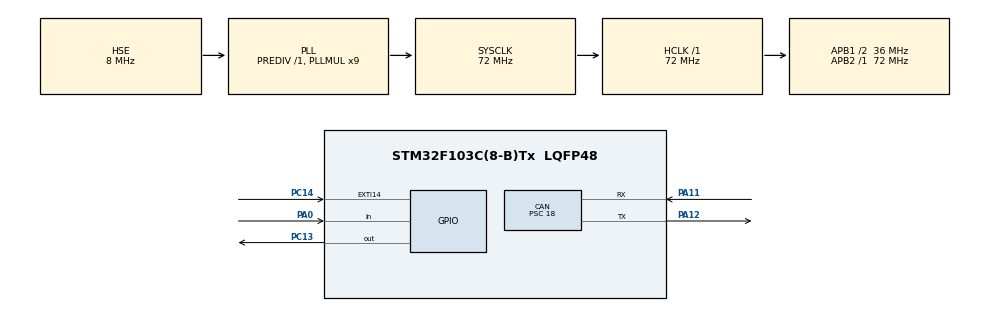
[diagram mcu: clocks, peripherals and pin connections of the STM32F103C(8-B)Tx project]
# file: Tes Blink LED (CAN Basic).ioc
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CAN.BS1=CAN_BS1_2TQ
CAN.CalculateBaudRate=500000
CAN.CalculateTimeBit=2000
CAN.CalculateTimeQuantum=500.0
CAN.Prescaler=18
Mcu.Family=STM32F1
Mcu.Name=STM32F103C(8-B)Tx
Mcu.Package=LQFP48
NVIC.CAN1_RX1_IRQn=true\:0\:0\:false\:false\:true\:true\:true\:true
NVIC.CAN1_SCE_IRQn=true\:0\:0\:false\:false\:true\:true\:true\:true
NVIC.EXTI15_10_IRQn=true\:0\:0\:false\:false\:true\:true\:true\:true
NVIC.PriorityGroup=NVIC_PRIORITYGROUP_4
PA0-WKUP.Signal=GPIO_Input
PA11.Mode=CAN_Activate
PA11.Signal=CAN_RX
PA12.Mode=CAN_Activate
PA12.Signal=CAN_TX
PA13.Mode=Serial_Wire
PA13.Signal=SYS_JTMS-SWDIO
PA14.Mode=Serial_Wire
PA14.Signal=SYS_JTCK-SWCLK
PC13-TAMPER-RTC.Signal=GPIO_Output
PC14-OSC32_IN.Signal=GPXTI14
PD0-OSC_IN.Mode=HSE-External-Oscillator
PD0-OSC_IN.Signal=RCC_OSC_IN
PD1-OSC_OUT.Mode=HSE-External-Oscillator
PD1-OSC_OUT.Signal=RCC_OSC_OUT
ProjectManager.HeapSize=0x200
ProjectManager.StackSize=0x400
ProjectManager.TargetToolchain=MDK-ARM V5
RCC.AHBFreq_Value=72000000
RCC.APB1CLKDivider=RCC_HCLK_DIV2
RCC.APB1Freq_Value=36000000
RCC.APB1TimFreq_Value=72000000
RCC.APB2Freq_Value=72000000
RCC.APB2TimFreq_Value=72000000
RCC.HCLKFreq_Value=72000000
RCC.PLLMUL=RCC_PLL_MUL9
RCC.PLLSourceVirtual=RCC_PLLSOURCE_HSE
RCC.SYSCLKFreq_VALUE=72000000
RCC.SYSCLKSource=RCC_SYSCLKSOURCE_PLLCLK
RCC.USBFreq_Value=72000000
board=custom

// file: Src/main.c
/* USER CODE BEGIN Header */
/**
  ******************************************************************************
  * @file           : main.c
  * @brief          : Main program body
  ******************************************************************************
  * @attention
  *
  * Copyright (c) 2022 STMicroelectronics.
  * All rights reserved.
  *
  * This software is licensed under terms that can be found in the LICENSE file
  * in the root directory of this software component.
  * If no LICENSE file comes with this software, it is provided AS-IS.
  *
  ******************************************************************************
  */
/* USER CODE END Header */
#include "main.h"

 CAN_HandleTypeDef hcan;

void SystemClock_Config(void);
static void MX_GPIO_Init(void);
static void MX_CAN_Init(void);

/* USER CODE BEGIN 0 */
CAN_TxHeaderTypeDef TxHeader;
CAN_RxHeaderTypeDef RxHeader;

uint8_t TxData[8];
uint8_t RxData[8];

uint32_t TxMailbox;

int datacheck = 0;

void HAL_GPIO_EXTI_Callback(uint16_t GPIO_Pin)
{
	if (GPIO_Pin == GPIO_PIN_14)
	{
		TxData[0] = 100;   // ms Delay
		TxData[1] = 40;    // loop rep

		HAL_CAN_AddTxMessage(&hcan, &TxHeader, TxData, &TxMailbox);
	}
}

void HAL_CAN_RxFifo0MsgPendingCallback(CAN_HandleTypeDef *hcan)
{
	HAL_CAN_GetRxMessage(hcan, CAN_RX_FIFO0, &RxHeader, RxData);
	if (RxHeader.DLC == 2)
	{
		datacheck = 1;
	}
}

/* USER CODE END 0 */

int main(void)
{

  /* MCU Configuration--------------------------------------------------------*/

  /* Reset of all peripherals, Initializes the Flash interface and the Systick. */
  HAL_Init();

  /* Configure the system clock */
  SystemClock_Config();

  /* Initialize all configured peripherals */
  MX_GPIO_Init();
  MX_CAN_Init();
  /* USER CODE BEGIN 2 */
	  HAL_CAN_Start(&hcan);

  // Activate the notification
  HAL_CAN_ActivateNotification(&hcan, CAN_IT_RX_FIFO0_MSG_PENDING);

  TxHeader.DLC = 2;  // data length
  TxHeader.IDE = CAN_ID_EXT;
  TxHeader.RTR = CAN_RTR_DATA;
  TxHeader.ExtId = 0x131;  // ID
  TxData[0] = 200;  // ms delay
  TxData[1] = 20;  // loop rep
  /* USER CODE END 2 */

  /* Infinite loop */
  while (1)
  {

    /* USER CODE BEGIN 3 */

	  if (datacheck)
	  {
		  // blink the LED
		  for (int i=0; i<RxData[1]; i++)
		  {
			  HAL_GPIO_TogglePin(GPIOC, GPIO_PIN_13);
			  HAL_Delay(RxData[0]);
		  }

		  datacheck = 0;

			TxData[0] = 100;   // ms Delay
			TxData[1] = 40;    // loop rep

			HAL_CAN_AddTxMessage(&hcan, &TxHeader, TxData, &TxMailbox);
	  }

  }
  /* USER CODE END 3 */
}

void SystemClock_Config(void)
{
  RCC_OscInitTypeDef RCC_OscInitStruct = {0};
  RCC_ClkInitTypeDef RCC_ClkInitStruct = {0};

  /** Initializes the RCC Oscillators according to the specified parameters
  * in the RCC_OscInitTypeDef structure.
  */
  RCC_OscInitStruct.OscillatorType = RCC_OSCILLATORTYPE_HSE;
  RCC_OscInitStruct.HSEState = RCC_HSE_ON;
  RCC_OscInitStruct.HSEPredivValue = RCC_HSE_PREDIV_DIV1;
  RCC_OscInitStruct.HSIState = RCC_HSI_ON;
  RCC_OscInitStruct.PLL.PLLState = RCC_PLL_ON;
  RCC_OscInitStruct.PLL.PLLSource = RCC_PLLSOURCE_HSE;
  RCC_OscInitStruct.PLL.PLLMUL = RCC_PLL_MUL9;
  if (HAL_RCC_OscConfig(&RCC_OscInitStruct) != HAL_OK)
  {
    Error_Handler();
  }

  /** Initializes the CPU, AHB and APB buses clocks
  */
  RCC_ClkInitStruct.ClockType = RCC_CLOCKTYPE_HCLK|RCC_CLOCKTYPE_SYSCLK
                              |RCC_CLOCKTYPE_PCLK1|RCC_CLOCKTYPE_PCLK2;
  RCC_ClkInitStruct.SYSCLKSource = RCC_SYSCLKSOURCE_PLLCLK;
  RCC_ClkInitStruct.AHBCLKDivider = RCC_SYSCLK_DIV1;
  RCC_ClkInitStruct.APB1CLKDivider = RCC_HCLK_DIV2;
  RCC_ClkInitStruct.APB2CLKDivider = RCC_HCLK_DIV1;

  if (HAL_RCC_ClockConfig(&RCC_ClkInitStruct, FLASH_LATENCY_2) != HAL_OK)
  {
    Error_Handler();
  }
}

static void MX_CAN_Init(void)
{

  hcan.Instance = CAN1;
  hcan.Init.Prescaler = 18;
  hcan.Init.Mode = CAN_MODE_NORMAL;
  hcan.Init.SyncJumpWidth = CAN_SJW_1TQ;
  hcan.Init.TimeSeg1 = CAN_BS1_2TQ;
  hcan.Init.TimeSeg2 = CAN_BS2_1TQ;
  hcan.Init.TimeTriggeredMode = DISABLE;
  hcan.Init.AutoBusOff = DISABLE;
  hcan.Init.AutoWakeUp = DISABLE;
  hcan.Init.AutoRetransmission = DISABLE;
  hcan.Init.ReceiveFifoLocked = DISABLE;
  hcan.Init.TransmitFifoPriority = DISABLE;
  if (HAL_CAN_Init(&hcan) != HAL_OK)
  {
    Error_Handler();
  }
  /* USER CODE BEGIN CAN_Init 2 */
 CAN_FilterTypeDef canfilterconfig;

  canfilterconfig.FilterActivation = CAN_FILTER_ENABLE;
  canfilterconfig.FilterBank = 18;  // which filter bank to use from the assigned ones
  canfilterconfig.FilterFIFOAssignment = CAN_FILTER_FIFO0;
  canfilterconfig.FilterIdHigh = 0x13<<5;
  canfilterconfig.FilterIdLow = 0;
  canfilterconfig.FilterMaskIdHigh = 0x13<<5;
  canfilterconfig.FilterMaskIdLow = 0;
  canfilterconfig.FilterMode = CAN_FILTERMODE_IDMASK;
  canfilterconfig.FilterScale = CAN_FILTERSCALE_32BIT;
  canfilterconfig.SlaveStartFilterBank = 20;  // how many filters to assign to the CAN1 (master can)

  HAL_CAN_ConfigFilter(&hcan, &canfilterconfig);
  /* USER CODE END CAN_Init 2 */

}

static void MX_GPIO_Init(void)
{
  GPIO_InitTypeDef GPIO_InitStruct = {0};

  /* GPIO Ports Clock Enable */
  __HAL_RCC_GPIOC_CLK_ENABLE();
  __HAL_RCC_GPIOD_CLK_ENABLE();
  __HAL_RCC_GPIOA_CLK_ENABLE();

  /*Configure GPIO pin Output Level */
  HAL_GPIO_WritePin(GPIOC, GPIO_PIN_13, GPIO_PIN_RESET);

  /*Configure GPIO pin : PC13 */
  GPIO_InitStruct.Pin = GPIO_PIN_13;
  GPIO_InitStruct.Mode = GPIO_MODE_OUTPUT_PP;
  GPIO_InitStruct.Pull = GPIO_NOPULL;
  GPIO_InitStruct.Speed = GPIO_SPEED_FREQ_LOW;
  HAL_GPIO_Init(GPIOC, &GPIO_InitStruct);

  /*Configure GPIO pin : PC14 */
  GPIO_InitStruct.Pin = GPIO_PIN_14;
  GPIO_InitStruct.Mode = GPIO_MODE_IT_RISING;
  GPIO_InitStruct.Pull = GPIO_NOPULL;
  HAL_GPIO_Init(GPIOC, &GPIO_InitStruct);

  /*Configure GPIO pin : PA0 */
  GPIO_InitStruct.Pin = GPIO_PIN_0;
  GPIO_InitStruct.Mode = GPIO_MODE_INPUT;
  GPIO_InitStruct.Pull = GPIO_NOPULL;
  HAL_GPIO_Init(GPIOA, &GPIO_InitStruct);

  /* EXTI interrupt init*/
  HAL_NVIC_SetPriority(EXTI15_10_IRQn, 0, 0);
  HAL_NVIC_EnableIRQ(EXTI15_10_IRQn);

}

void Error_Handler(void)
{
  __disable_irq();
  while (1)
  {
  }
}
